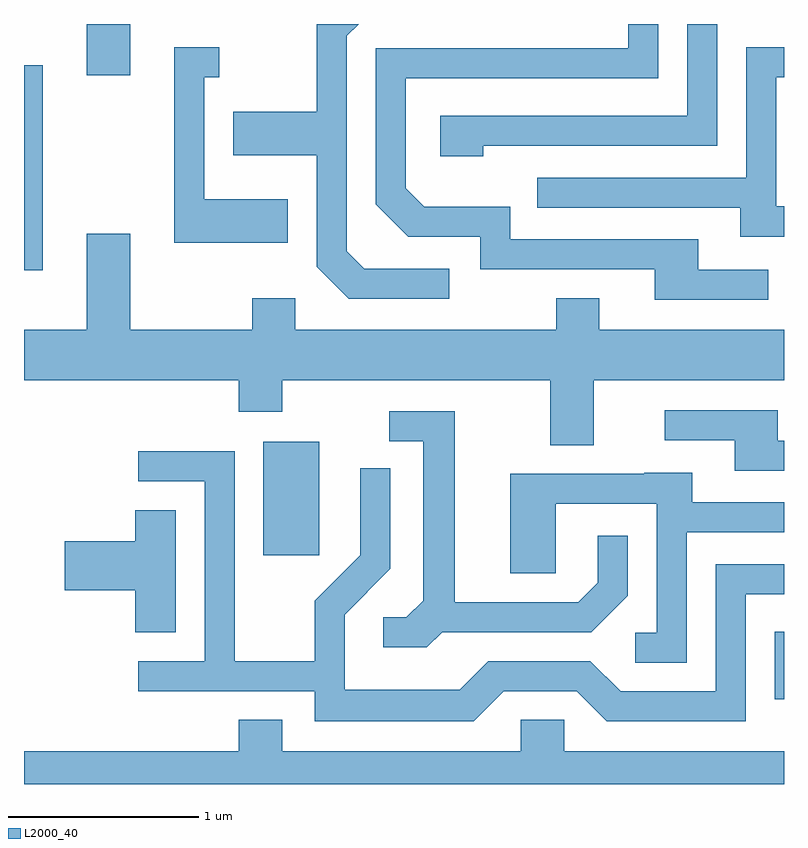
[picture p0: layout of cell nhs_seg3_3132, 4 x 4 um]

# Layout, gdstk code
import gdstk
lib = gdstk.Library(unit=1e-6, precision=1e-09)
def R(c, l, rs):  # rectangles x0, y0, x1, y1
    for r in rs: c.add(gdstk.rectangle(r[:2], r[2:], *l))
def P(c, l, *ps):  # polygons
    for p in ps: c.add(gdstk.Polygon(p, *l))
L2000_40 = (2000, 40)

nhs_seg3_3132 = lib.new_cell('nhs_seg3_3132')
R(nhs_seg3_3132, L2000_40, [(281.561,1124.338,281.611,1124.694), (278.871,1125.096,279.164,1125.694), (277.611,1126.596,277.709,1127.674), (277.941,1127.621,278.169,1127.892)])
P(nhs_seg3_3132, L2000_40, [(279.848,1126.604),(279.402,1126.604),(279.309,1126.697),(279.309,1127.829),(279.373,1127.892),(279.151,1127.892),(279.151,1127.429),(278.711,1127.429),(278.711,1127.201),(279.151,1127.201),(279.151,1126.614),(279.319,1126.446),(279.848,1126.446)],
  [(281.528,1126.599),(281.159,1126.599),(281.159,1126.759),(280.169,1126.759),(280.169,1126.929),(279.717,1126.929),(279.619,1127.027),(279.619,1127.606),(280.949,1127.606),(280.949,1127.892),(280.791,1127.892),(280.791,1127.764),(279.461,1127.764),(279.461,1126.944),(279.634,1126.771),(280.011,1126.771),(280.011,1126.601),(280.931,1126.601),(280.931,1126.441),(281.528,1126.441)],
  [(280.029,1127.251),(281.259,1127.251),(281.259,1127.892),(281.101,1127.892),(281.101,1127.409),(279.801,1127.409),(279.801,1127.196),(280.029,1127.196)],
  [(278.999,1126.969),(278.559,1126.969),(278.559,1127.611),(278.638,1127.611),(278.638,1127.769),(278.401,1127.769),(278.401,1126.741),(278.999,1126.741)],
  [(281.611,1126.934),(281.569,1126.934),(281.569,1127.611),(281.611,1127.611),(281.611,1127.769),(281.411,1127.769),(281.411,1127.084),(280.313,1127.084),(280.313,1126.926),(281.381,1126.926),(281.381,1126.771),(281.611,1126.771)],
  [(278.169,1126.789),(277.941,1126.789),(277.941,1126.284),(277.611,1126.284),(277.611,1126.016),(278.741,1126.016),(278.741,1125.851),(278.969,1125.851),(278.969,1126.016),(280.381,1126.016),(280.381,1125.676),(280.609,1125.676),(280.609,1126.016),(281.611,1126.016),(281.611,1126.284),(280.639,1126.284),(280.639,1126.449),(280.411,1126.449),(280.411,1126.284),(279.039,1126.284),(279.039,1126.449),(278.811,1126.449),(278.811,1126.284),(278.169,1126.284)],
  [(281.611,1125.699),(281.579,1125.699),(281.579,1125.859),(280.983,1125.859),(280.983,1125.701),(281.351,1125.701),(281.351,1125.541),(281.611,1125.541)],
  [(279.812,1124.691),(280.597,1124.691),(280.789,1124.884),(280.789,1125.198),(280.631,1125.198),(280.631,1124.952),(280.529,1124.849),(279.879,1124.849),(279.879,1125.854),(279.533,1125.854),(279.533,1125.696),(279.711,1125.696),(279.711,1124.857),(279.624,1124.769),(279.503,1124.769),(279.503,1124.611),(279.732,1124.611)],
  [(280.137,1124.381),(280.519,1124.381),(280.679,1124.221),(281.409,1124.221),(281.409,1124.891),(281.611,1124.891),(281.611,1125.049),(281.251,1125.049),(281.251,1124.379),(280.752,1124.379),(280.592,1124.539),(280.054,1124.539),(279.904,1124.389),(279.299,1124.389),(279.299,1124.784),(279.539,1125.024),(279.539,1125.553),(279.381,1125.553),(279.381,1125.097),(279.141,1124.857),(279.141,1124.539),(278.719,1124.539),(278.719,1125.644),(278.213,1125.644),(278.213,1125.486),(278.561,1125.486),(278.561,1124.539),(278.213,1124.539),(278.213,1124.381),(279.141,1124.381),(279.141,1124.221),(279.977,1124.221)],
  [(281.099,1125.216),(281.611,1125.216),(281.611,1125.374),(281.129,1125.374),(281.129,1125.529),(280.875,1125.529),(280.875,1125.524),(280.171,1125.524),(280.171,1125.001),(280.409,1125.001),(280.409,1125.366),(280.941,1125.366),(280.941,1124.689),(280.828,1124.689),(280.828,1124.531),(281.099,1124.531)],
  [(278.409,1125.334),(278.196,1125.334),(278.196,1125.169),(277.826,1125.169),(277.826,1124.911),(278.196,1124.911),(278.196,1124.691),(278.409,1124.691)],
  [(281.611,1124.064),(280.454,1124.064),(280.454,1124.229),(280.226,1124.229),(280.226,1124.064),(278.969,1124.064),(278.969,1124.229),(278.741,1124.229),(278.741,1124.064),(277.611,1124.064),(277.611,1123.892),(281.611,1123.892)])

lib.write_gds('nhs_seg3_3132.gds')
